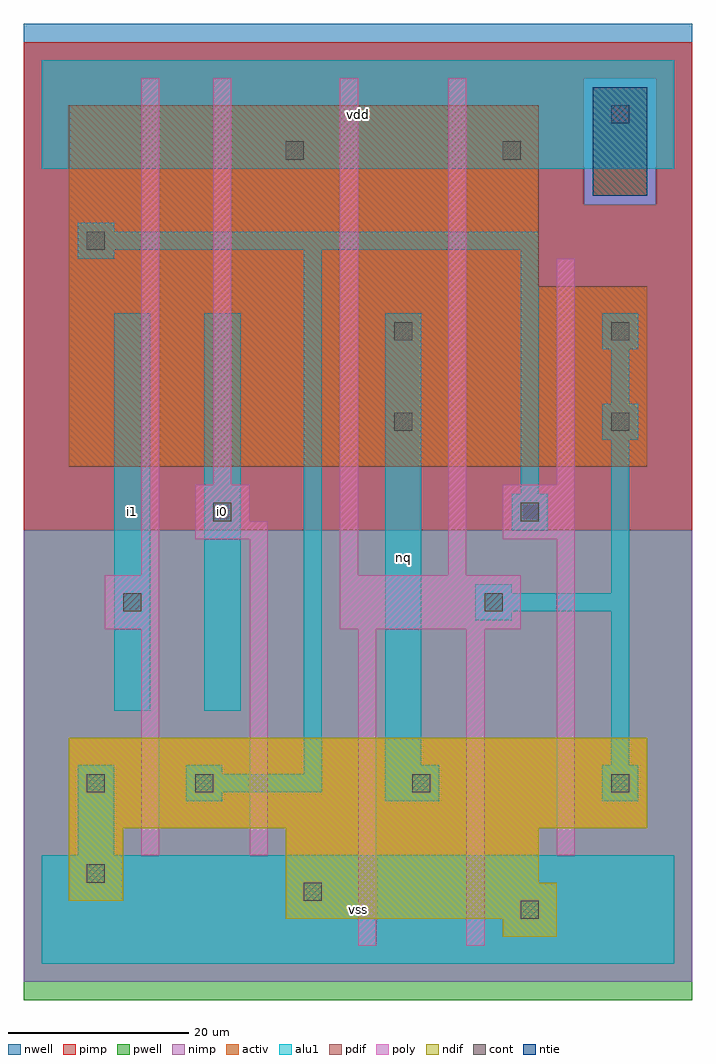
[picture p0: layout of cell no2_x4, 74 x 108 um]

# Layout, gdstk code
import gdstk
lib = gdstk.Library(unit=1e-6, precision=1e-09)
def R(c, l, rs):  # rectangles x0, y0, x1, y1
    for r in rs: c.add(gdstk.rectangle(r[:2], r[2:], *l))
ndif = (3, 0)
pdif = (4, 0)
ntie = (5, 0)
cont = (25, 0)
pwell = (41, 0)
nwell = (42, 0)
activ = (43, 0)
pimp = (44, 0)
nimp = (45, 0)
poly = (46, 0)
alu1 = (49, 0)

no2_x4 = lib.new_cell('no2_x4')
R(no2_x4, ndif, [(51,3,57,5), (27,5,57,9), (3,7,9,15), (27,9,55,15), (3,15,67,25)])
R(no2_x4, pdif, [(3,55,67,75), (3,75,55,95)])
R(no2_x4, ntie, [(61,85,67,97)])
R(no2_x4, cont, [(53,5,55,7), (29,7,31,9), (5,9,7,11), (5,19,7,21), (17,19,19,21), (41,19,43,21), (63,19,65,21), (9,39,11,41), (49,39,51,41), (19,49,21,51), (53,49,55,51), (39,59,41,61), (63,59,65,61), (39,69,41,71), (63,69,65,71), (5,79,7,81), (27,89,29,91), (51,89,53,91), (63,93,65,95)])
R(no2_x4, pwell, [(-2,-4,72,48)])
R(no2_x4, nwell, [(-2,48,72,104)])
R(no2_x4, activ, [(51,3,57,5), (27,5,57,9), (3,7,9,15), (27,9,55,15), (3,15,67,25), (3,55,67,75), (3,75,55,95), (61,85,67,97)])
R(no2_x4, pimp, [(-2,48,72,84), (-2,84,60,98), (68,84,72,98), (-2,98,72,102)])
R(no2_x4, nimp, [(-2,-2,72,48), (60,84,68,98)])
R(no2_x4, poly, [(35,2,37,37), (47,2,49,37), (11,12,13,37), (23,12,25,47), (57,12,59,47), (7,37,13,43), (33,37,53,43), (11,43,13,98), (33,43,35,98), (45,43,47,98), (17,47,25,49), (51,47,59,53), (17,49,23,53), (19,53,21,98), (57,53,59,78)])
R(no2_x4, alu1, [(0,0,70,12), (4,12,8,22), (16,18,20,19), (38,18,44,22), (62,18,66,22), (16,19,31,21), (16,21,20,22), (29,21,31,79), (38,22,42,72), (63,22,65,39), (8,28,12,72), (18,28,22,72), (48,38,52,39), (48,39,65,41), (48,41,52,42), (63,41,65,58), (52,48,56,52), (53,52,55,79), (62,58,66,62), (63,62,65,68), (62,68,66,72), (4,78,8,79), (4,79,55,81), (4,81,8,82), (0,88,70,100)])
no2_x4.add(gdstk.Label('i1', (10,50), layer=49, texttype=0))
no2_x4.add(gdstk.Label('i0', (20,50), layer=49, texttype=0))
no2_x4.add(gdstk.Label('vss', (35,6), layer=49, texttype=0))
no2_x4.add(gdstk.Label('nq', (40,45), layer=49, texttype=0))
no2_x4.add(gdstk.Label('vdd', (35,94), layer=49, texttype=0))

lib.write_gds('no2_x4.gds')
